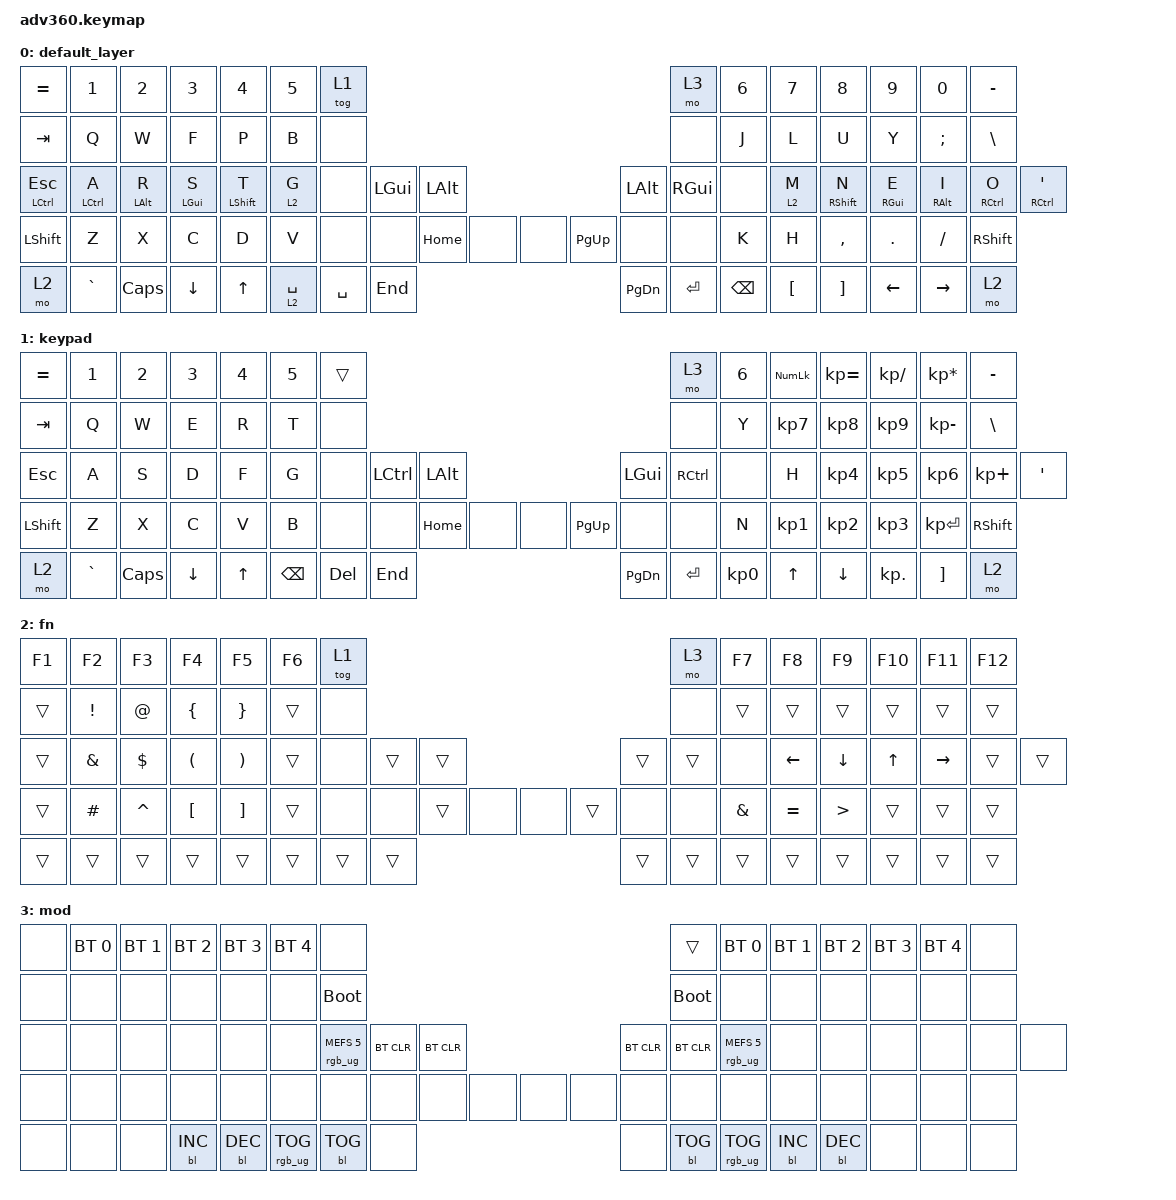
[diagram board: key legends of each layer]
#include <behaviors.dtsi>
#include <dt-bindings/zmk/keys.h>
#include <dt-bindings/zmk/bt.h>
#include <dt-bindings/zmk/rgb.h>
#include <dt-bindings/zmk/backlight.h>

&mt {
    tapping-term-ms = <210>;
    flavor = "tap-preferred";
};

/ {
    behaviors {
      #include "macros.dtsi"

      hm: homerow_mods {
          compatible = "zmk,behavior-hold-tap";
          label = "HOMEROW_MODS";
          #binding-cells = <2>;
          tapping-term-ms = <250>;
          quick_tap_ms = <150>;
          flavor = "tap-preferred";
          bindings = <&kp>, <&kp>;
      };

      am: alpha_mods {
        compatible = "zmk,behavior-hold-tap";
        label = "ALPHA_MT";
        #binding-cells = <2>;
        tapping-term-ms = <200>;
        quick-tap-ms = <150>;
        flavor = "tap-preferred";
        bindings = <&kp>, <&kp>;
      };
      as: alpha_shift {
        compatible = "zmk,behavior-hold-tap";
        label = "ALPHA_SFT";
        #binding-cells = <2>;
        tapping-term-ms = <200>;
        quick-tap-ms = <150>;
        flavor = "tap-preferred";
        bindings = <&kp>, <&kp>;
      };
    };

  keymap {
    compatible = "zmk,keymap";

    default_layer {
      bindings = <
        &kp EQUAL      &kp N1       &kp N2      &kp N3     &kp N4      &kp N5   &tog 1                                                                   &mo 3 &kp N6   &kp N7       &kp N8      &kp N9      &kp N0       &kp MINUS
        &kp TAB        &kp Q        &kp W       &kp F      &kp P       &kp B    &none                                                                    &none &kp J    &kp L        &kp U       &kp Y       &kp SEMI     &kp BSLH
        &mt LCTRL ESC  &am LCTRL A  &am LALT R  &am LGUI S &as LSHFT T &lt 2 G  &none           &kp LGUI  &kp LALT             &kp LALT  &kp RGUI          &none &lt 2 M  &as RSHFT N  &am RGUI E  &am RALT I  &am RCTRL O  &mt RCTRL SQT
        &kp LSHFT      &kp Z        &kp X       &kp C      &kp D       &kp V           &none    &none     &kp HOME &none &none &kp PG_UP &none     &none         &kp K    &kp H        &kp COMMA   &kp DOT     &kp FSLH     &kp RSHFT
        &mo 2          &kp GRAVE    &kp CAPS    &kp DOWN   &kp UP                  &lt 2 SPACE  &kp SPACE &kp END              &kp PG_DN &kp ENTER &kp BSPC               &kp LBKT     &kp RBKT    &kp LEFT    &kp RIGHT    &mo 2
      >;
    };
    keypad {
      bindings = <
        &kp EQUAL &kp N1    &kp N2   &kp N3   &kp N4     &kp N5 &trans                                                                       &mo 3 &kp N6 &kp KP_NUM &kp KP_EQUAL &kp KP_DIVIDE &kp KP_MULTIPLY &kp MINUS
        &kp TAB   &kp Q     &kp W    &kp E    &kp R      &kp T  &none                                                                        &none &kp Y  &kp KP_N7  &kp KP_N8    &kp KP_N9     &kp KP_MINUS    &kp BSLH
        &kp ESC   &kp A     &kp S    &kp D    &kp F      &kp G  &none           &kp LCTRL &kp LALT             &kp LGUI  &kp RCTRL           &none &kp H  &kp KP_N4  &kp KP_N5    &kp KP_N6     &kp KP_PLUS     &kp SQT
        &kp LSHFT &kp Z     &kp X    &kp C    &kp V      &kp B         &none    &none     &kp HOME &none &none &kp PG_UP &none     &none           &kp N  &kp KP_N1  &kp KP_N2    &kp KP_N3     &kp KP_ENTER    &kp RSHFT
        &mo 2     &kp GRAVE &kp CAPS &kp DOWN &kp UP                   &kp BSPC &kp DEL   &kp END              &kp PG_DN &kp ENTER &kp KP_N0              &kp UP     &kp DOWN     &kp KP_DOT    &kp RBKT        &mo 2
      >;
    };
    fn {
      bindings = <
        &kp F1 &kp F2   &kp F3     &kp F4   &kp F5   &kp F6  &tog 1                                                      &mo 3 &kp F7    &kp F8    &kp F9 &kp F10   &kp F11 &kp F12
        &trans &kp EXCL &kp AT     &kp LBRC &kp RBRC &trans  &none                                                       &none &trans    &trans    &trans &trans    &trans  &trans
        &trans &kp AMPS &kp DOLLAR &kp LPAR &kp RPAR &trans  &none        &trans &trans             &trans &trans        &none &kp LEFT  &kp DOWN  &kp UP &kp RIGHT &trans  &trans
        &trans &kp HASH &kp CARET  &kp LBKT &kp RBKT &trans        &none  &none  &trans &none &none &trans &none  &none        &kp AMPS  &kp EQUAL &kp GT &trans    &trans  &trans
        &trans &trans   &trans     &trans   &trans                &trans  &trans &trans             &trans &trans &trans                 &trans    &trans &trans    &trans  &trans
      >;
    };
    mod {
      bindings = <
        &none &bt BT_SEL 0 &bt BT_SEL 1 &bt BT_SEL 2 &bt BT_SEL 3 &bt BT_SEL 4 &none                                                                                                          &trans                 &bt BT_SEL 0 &bt BT_SEL 1 &bt BT_SEL 2 &bt BT_SEL 3 &bt BT_SEL 4 &none
        &none &none        &none        &none        &none        &none        &bootloader                                                                                                    &bootloader            &none        &none        &none        &none        &none        &none
        &none &none        &none        &none        &none        &none        &rgb_ug RGB_MEFS_CMD 5                 &bt BT_CLR &bt BT_CLR             &bt BT_CLR &bt BT_CLR                 &rgb_ug RGB_MEFS_CMD 5 &none        &none        &none        &none        &none        &none
        &none &none        &none        &none        &none        &none                               &none           &none      &none      &none &none &none      &none      &none                                  &none        &none        &none        &none        &none        &none
        &none &none        &none        &bl BL_INC   &bl BL_DEC                                       &rgb_ug RGB_TOG &bl BL_TOG &none                  &none      &bl BL_TOG &rgb_ug RGB_TOG                                     &bl BL_INC   &bl BL_DEC   &none        &none        &none
      >;
    };
  };
};
